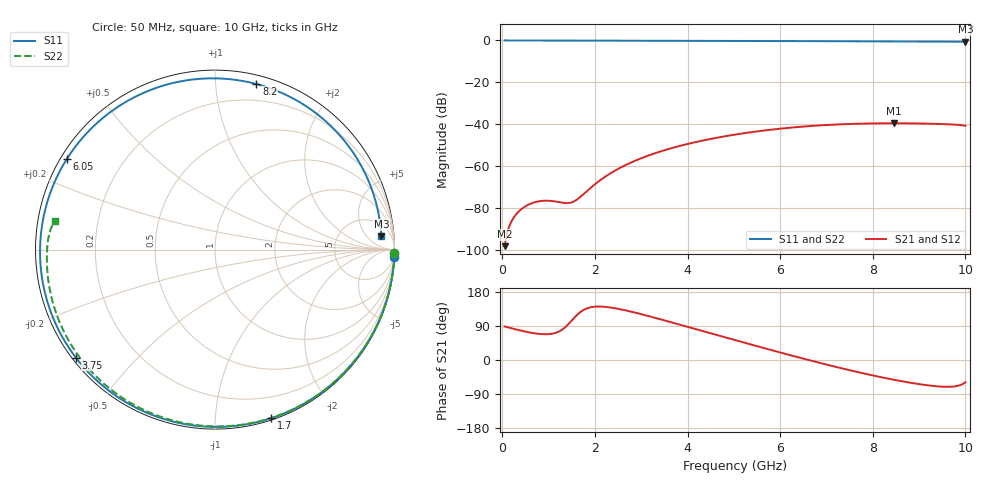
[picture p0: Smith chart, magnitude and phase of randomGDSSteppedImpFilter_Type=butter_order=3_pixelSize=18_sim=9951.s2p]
! freq	dB(S11)	phase(S11)	dB(S12)	phase(S12)
!  dB(S21)	phase(S21)	dB(S22)	phase(S22)
!S-par simulation data
#  GHz  S  DB  R 50
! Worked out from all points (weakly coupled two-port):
!   200 points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, 50 MHz to 10 GHz, reference 50 ohm
!   highest |S21| = -39.52 dB at 8.45 GHz (marker M1); lowest = -98.2 dB at 50 MHz (marker M2)
!   lowest |S11| = -0.6 dB at 10 GHz (marker M3), VSWR 27.51, Z = 620 + j683 ohm
!   |S11| at or under -10 dB: nowhere
!   |S22| runs from -0.9 to 0.0 dB; largest |S21 - S12| = 0
!   S11 on the Smith chart (normalised r, x): 50 MHz: 0, -51; 1.7 GHz: 0.01, -1.39; 3.75 GHz: 0.01, -0.34; 6.05 GHz: 0.02, +0.28; 8.2 GHz: 0.07, +1.28; 10 GHz: 12, +14
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0.05  -0.00 -2.2  -98.20 88.5  -98.20 88.5  -0.00 -1.1
0.45  -0.03 -19.8  -79.89 76.3  -79.89 76.3  -0.01 -9.4
0.75  -0.04 -32.7  -76.96 69.5  -76.96 69.5  -0.02 -15.6
1  -0.06 -43.3  -76.50 68.2  -76.50 68.2  -0.03 -20.7
1.45  -0.08 -61.8  -77.55 97.5  -77.55 97.5  -0.04 -29.9
1.7  -0.09 -71.6  -74.42 127.8  -74.42 127.8  -0.04 -34.9
1.75  -0.09 -73.5  -73.45 131.7  -73.45 131.7  -0.05 -35.9
2.1  -0.10 -86.7  -66.95 141.1  -66.95 141.1  -0.06 -42.9
2.45  -0.12 -99.4  -61.94 136.2  -61.94 136.2  -0.06 -49.8
3.4  -0.15 -131.2  -53.09 108.0  -53.09 108.0  -0.09 -68.0
3.75  -0.16 -142.2  -50.83 96.2  -50.83 96.2  -0.10 -74.6
4.4  -0.19 -161.9  -47.45 73.9  -47.45 73.9  -0.12 -86.5
5.05  -0.23 178.7  -44.85 51.7  -44.85 51.7  -0.15 -98.1
5.55  -0.25 163.8  -43.27 34.8  -43.27 34.8  -0.18 -106.9
6.05  -0.29 148.6  -42.00 18.2  -42.00 18.2  -0.21 -115.6
6.7  -0.33 128.1  -40.77 -2.7  -40.77 -2.7  -0.25 -126.8
7.5  -0.39 101.3  -39.86 -26.9  -39.86 -26.9  -0.31 -140.7
8.2  -0.44 76.0  -39.54 -45.9  -39.54 -45.9  -0.38 -153.0
8.35  -0.45 70.3  -39.53 -49.6  -39.53 -49.6  -0.40 -155.7
8.45  -0.46 66.5  -39.52 -52.0  -39.52 -52.0  -0.41 -157.6
9.3  -0.54 33.0  -39.76 -68.4  -39.76 -68.4  -0.53 -173.6
10  -0.63 4.6  -40.74 -58.7  -40.74 -58.7  -0.87 169.9
